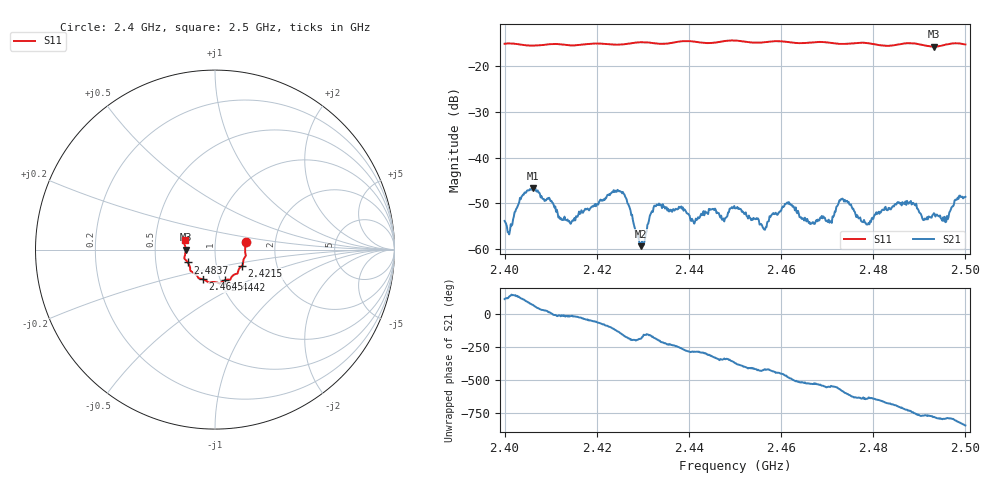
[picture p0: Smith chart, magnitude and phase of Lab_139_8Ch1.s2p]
# Hz S RI R 50
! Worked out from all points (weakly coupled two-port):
!   601 points, 2.4 GHz to 2.5 GHz, reference 50 ohm
!   highest |S21| = -46.75 dB at 2.4062 GHz (marker M1); lowest = -59.4 dB at 2.4297 GHz (marker M2)
!   lowest |S11| = -15.7 dB at 2.4932 GHz (marker M3), VSWR 1.39, Z = 35.9 - j0.0533 ohm
!   |S11| at or under -10 dB: start of sweep to end of sweep
!   S12 and S22 are empty: the file has one direction only
!   S11 on the Smith chart (normalised r, x): 2.4 GHz: 1.41, +0.12; 2.4215 GHz: 1.33, -0.25; 2.4442 GHz: 1.05, -0.37; 2.4645 GHz: 0.83, -0.29; 2.4837 GHz: 0.73, -0.11; 2.5 GHz: 0.71, +0.07
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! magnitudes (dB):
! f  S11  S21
! 2.4 GHz  -15.1  -53.9
! 2.4012 GHz  -15.0  -56.0
! 2.4062 GHz  -15.5  -46.7
! 2.4122 GHz  -15.2  -53.2
! 2.4167 GHz  -15.3  -51.6
! 2.4215 GHz  -15.1  -49.1
! 2.4257 GHz  -15.3  -47.5
! 2.4297 GHz  -14.8  -59.4
! 2.4333 GHz  -15.1  -50.4
! 2.4442 GHz  -15.0  -52.4
! 2.45 GHz  -14.4  -51.1
! 2.4563 GHz  -14.8  -55.8
! 2.4613 GHz  -14.7  -49.8
! 2.4645 GHz  -15.0  -53.4
! 2.4667 GHz  -14.8  -54.4
! 2.4707 GHz  -14.9  -53.9
! 2.4732 GHz  -15.1  -49.1
! 2.4787 GHz  -15.0  -54.7
! 2.4833 GHz  -15.6  -51.0
! 2.4837 GHz  -15.5  -51.3
! 2.4932 GHz  -15.7  -52.2
! 2.5 GHz  -15.3  -48.6
